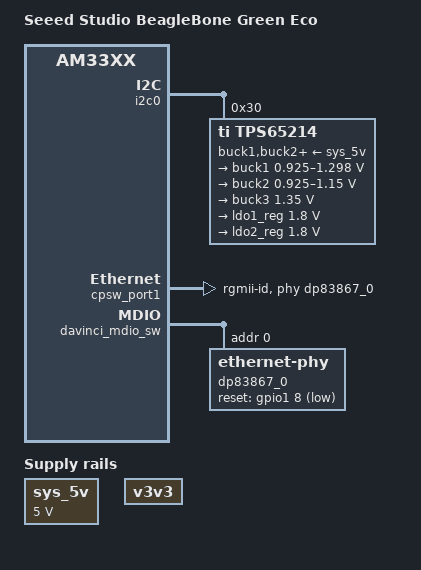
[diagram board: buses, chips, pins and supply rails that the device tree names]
// SPDX-License-Identifier: GPL-2.0-only
/*
 * Copyright (C) 2025 Bootlin
 */
/dts-v1/;

#include "am33xx.dtsi"
#include "am335x-bone-common.dtsi"
#include "am335x-bonegreen-common.dtsi"
#include <dt-bindings/net/ti-dp83867.h>

/ {
	model = "Seeed Studio BeagleBone Green Eco";
	compatible = "seeed,am335x-bone-green-eco", "ti,am33xx";

	chosen {
		base_dtb = "am335x-bonegreen-eco.dts";
		base_dtb_timestamp = __TIMESTAMP__;
	};

	cpus {
		cpu@0 {
			cpu0-supply = <&buck1>;
		};
	};

	sys_5v: regulator-sys-5v {
		compatible = "regulator-fixed";
		regulator-name = "sys_5v";
		regulator-min-microvolt = <5000000>;
		regulator-max-microvolt = <5000000>;
		regulator-always-on;
	};

	v3v3: regulator-v3v3 {
		compatible = "regulator-fixed";
		regulator-name = "v3v3";
		regulator-always-on;
	};
};

&usb0 {
	interrupts-extended = <&intc 18>;
	interrupt-names = "mc";
};

&baseboard_eeprom {
	vcc-supply = <&v3v3>;
};

&i2c0 {
	/delete-node/ pmic@24;

	tps65214: pmic@30 {
		compatible = "ti,tps65214";
		reg = <0x30>;
		buck1-supply = <&sys_5v>;
		buck2-supply = <&sys_5v>;
		buck3-supply = <&sys_5v>;
		ldo1-supply = <&sys_5v>;
		ldo2-supply = <&sys_5v>;

		interrupt-parent = <&intc>;
		interrupts = <7>;
		pinctrl-0 = <&pmic_irq_pins_default>;

		regulators {
			buck1: buck1 {
				regulator-name = "vdd_mpu";
				regulator-min-microvolt = <925000>;
				regulator-max-microvolt = <1298500>;
				regulator-boot-on;
				regulator-always-on;
			};

			buck2: buck2 {
				regulator-name = "vdd_core";
				regulator-min-microvolt = <925000>;
				regulator-max-microvolt = <1150000>;
				regulator-boot-on;
				regulator-always-on;
			};

			buck3: buck3 {
				regulator-name = "vdds_ddr";
				regulator-min-microvolt = <1350000>;
				regulator-max-microvolt = <1350000>;
				regulator-always-on;
			};

			ldo1_reg: ldo1 {
				regulator-name = "vdd_1v8_1";
				regulator-min-microvolt = <1800000>;
				regulator-max-microvolt = <1800000>;
				regulator-boot-on;
				regulator-always-on;
			};

			ldo2_reg: ldo2 {
				regulator-name = "vdd_1v8_2";
				regulator-min-microvolt = <1800000>;
				regulator-max-microvolt = <1800000>;
				regulator-boot-on;
				regulator-always-on;
			};
		};
	};
};

&cpsw_port1 {
	phy-mode = "rgmii-id";
	phy-handle = <&dp83867_0>;
	ti,dual-emac-pvid = <1>;
};

&mac_sw {
	pinctrl-0 = <&cpsw_b_default>;
	pinctrl-1 = <&cpsw_b_sleep>;
};

&davinci_mdio_sw {
	/delete-node/ ethernet-phy@0;

	dp83867_0: ethernet-phy@0 {
		reg = <0>;
		ti,rx-internal-delay = <DP83867_RGMIIDCTL_2_50_NS>;
		ti,tx-internal-delay = <DP83867_RGMIIDCTL_2_50_NS>;
		ti,fifo-depth = <DP83867_PHYCR_FIFO_DEPTH_8_B_NIB>;
		ti,min-output-impedance;
		ti,dp83867-rxctrl-strap-quirk;

		reset-gpios = <&gpio1 8 GPIO_ACTIVE_LOW>;
		reset-assert-us = <300>;
		reset-deassert-us = <50000>;
	};
};

&am33xx_pinmux {
	cpsw_b_default: cpsw-b-default-pins {
		pinctrl-single,pins = <
			AM33XX_PADCONF(AM335X_PIN_MII1_TX_EN, PIN_OUTPUT_PULLDOWN, MUX_MODE2)
			AM33XX_PADCONF(AM335X_PIN_MII1_RX_DV, PIN_INPUT_PULLDOWN, MUX_MODE2)
			AM33XX_PADCONF(AM335X_PIN_MII1_TX_CLK, PIN_OUTPUT_PULLDOWN, MUX_MODE2)
			AM33XX_PADCONF(AM335X_PIN_MII1_RX_CLK, PIN_INPUT_PULLDOWN, MUX_MODE2)
			AM33XX_PADCONF(AM335X_PIN_MII1_TXD0, PIN_OUTPUT_PULLDOWN, MUX_MODE2)
			AM33XX_PADCONF(AM335X_PIN_MII1_TXD1, PIN_OUTPUT_PULLDOWN, MUX_MODE2)
			AM33XX_PADCONF(AM335X_PIN_MII1_TXD2, PIN_OUTPUT_PULLDOWN, MUX_MODE2)
			AM33XX_PADCONF(AM335X_PIN_MII1_TXD3, PIN_OUTPUT_PULLDOWN, MUX_MODE2)
			AM33XX_PADCONF(AM335X_PIN_MII1_RXD0, PIN_INPUT_PULLDOWN, MUX_MODE2)
			AM33XX_PADCONF(AM335X_PIN_MII1_RXD1, PIN_INPUT_PULLDOWN, MUX_MODE2)
			AM33XX_PADCONF(AM335X_PIN_MII1_RXD2, PIN_INPUT_PULLDOWN, MUX_MODE2)
			AM33XX_PADCONF(AM335X_PIN_MII1_RXD3, PIN_INPUT_PULLDOWN, MUX_MODE2)
		>;
	};

	cpsw_b_sleep: cpsw-b-sleep-pins {
		pinctrl-single,pins = <
			AM33XX_PADCONF(AM335X_PIN_MII1_TX_EN, PIN_INPUT_PULLDOWN, MUX_MODE7)
			AM33XX_PADCONF(AM335X_PIN_MII1_RX_DV, PIN_INPUT_PULLDOWN, MUX_MODE7)
			AM33XX_PADCONF(AM335X_PIN_MII1_TX_CLK, PIN_INPUT_PULLDOWN, MUX_MODE7)
			AM33XX_PADCONF(AM335X_PIN_MII1_RX_CLK, PIN_INPUT_PULLDOWN, MUX_MODE7)
			AM33XX_PADCONF(AM335X_PIN_MII1_TXD0, PIN_INPUT_PULLDOWN, MUX_MODE7)
			AM33XX_PADCONF(AM335X_PIN_MII1_TXD1, PIN_INPUT_PULLDOWN, MUX_MODE7)
			AM33XX_PADCONF(AM335X_PIN_MII1_TXD2, PIN_INPUT_PULLDOWN, MUX_MODE7)
			AM33XX_PADCONF(AM335X_PIN_MII1_TXD3, PIN_INPUT_PULLDOWN, MUX_MODE7)
			AM33XX_PADCONF(AM335X_PIN_MII1_RXD0, PIN_INPUT_PULLDOWN, MUX_MODE7)
			AM33XX_PADCONF(AM335X_PIN_MII1_RXD1, PIN_INPUT_PULLDOWN, MUX_MODE7)
			AM33XX_PADCONF(AM335X_PIN_MII1_RXD2, PIN_INPUT_PULLDOWN, MUX_MODE7)
			AM33XX_PADCONF(AM335X_PIN_MII1_RXD3, PIN_INPUT_PULLDOWN, MUX_MODE7)
		>;
	};

	pmic_irq_pins_default: pmic-irq-default-pins {
		pinctrl-single,pins = <
			AM33XX_IOPAD(AM335X_PIN_NNMI, PIN_INPUT_PULLUP | MUX_MODE0)
		>;
	};
};

&gpio0 {
	gpio-line-names =
		"[mdio_data]",
		"[mdio_clk]",
		"P9_22 [spi0_sclk]",
		"P9_21 [spi0_d0]",
		"P9_18 [spi0_d1]",
		"P9_17 [spi0_cs0]",
		"[mmc0_cd]",
		"P9_42A [ecappwm0]",
		"P8_35 [lcd d12]",
		"P8_33 [lcd d13]",
		"P8_31 [lcd d14]",
		"P8_32 [lcd d15]",
		"P9_20 [i2c2_sda]",
		"P9_19 [i2c2_scl]",
		"P9_26 [uart1_rxd]",
		"P9_24 [uart1_txd]",
		"[rmii1_txd3]",
		"[rmii1_txd2]",
		"[usb0_drvvbus]",
		"[hdmi cec]",
		"P9_41B",
		"[rmii1_txd1]",
		"P8_19 [ehrpwm2a]",
		"P8_13 [ehrpwm2b]",
		"NC",
		"NC",
		"P8_14",
		"P8_17",
		"[rmii1_txd0]",
		"[rmii1_refclk]",
		"P9_11 [uart4_rxd]",
		"P9_13 [uart4_txd]";
};

&gpio1 {
	gpio-line-names =
		"P8_25 [mmc1_dat0]",
		"[mmc1_dat1]",
		"P8_5 [mmc1_dat2]",
		"P8_6 [mmc1_dat3]",
		"P8_23 [mmc1_dat4]",
		"P8_22 [mmc1_dat5]",
		"P8_3 [mmc1_dat6]",
		"P8_4 [mmc1_dat7]",
		"NC",
		"NC",
		"NC",
		"NC",
		"P8_12",
		"P8_11",
		"P8_16",
		"P8_15",
		"P9_15A",
		"P9_23",
		"P9_14 [ehrpwm1a]",
		"P9_16 [ehrpwm1b]",
		"[emmc rst]",
		"[usr0 led]",
		"[usr1 led]",
		"[usr2 led]",
		"[usr3 led]",
		"[hdmi irq]",
		"[usb vbus oc]",
		"[hdmi audio]",
		"P9_12",
		"P8_26",
		"P8_21 [emmc]",
		"P8_20 [emmc]";
};

&gpio2 {
	gpio-line-names =
		"P9_15B",
		"P8_18",
		"P8_7",
		"P8_8",
		"P8_10",
		"P8_9",
		"P8_45",
		"P8_46",
		"P8_43",
		"P8_44",
		"P8_41",
		"P8_42",
		"P8_39",
		"P8_40",
		"P8_37",
		"P8_38",
		"P8_36",
		"P8_34",
		"[rmii1_rxd3]",
		"[rmii1_rxd2]",
		"[rmii1_rxd1]",
		"[rmii1_rxd0]",
		"P8_27",
		"P8_29",
		"P8_28",
		"P8_30",
		"[mmc0_dat3]",
		"[mmc0_dat2]",
		"[mmc0_dat1]",
		"[mmc0_dat0]",
		"[mmc0_clk]",
		"[mmc0_cmd]";
};

&gpio3 {
	gpio-line-names =
		"[mii col]",
		"[mii crs]",
		"[mii rx err]",
		"[mii tx en]",
		"[mii rx dv]",
		"[i2c0 sda]",
		"[i2c0 scl]",
		"[jtag emu0]",
		"[jtag emu1]",
		"[mii tx clk]",
		"[mii rx clk]",
		"NC",
		"NC",
		"[usb vbus en]",
		"P9_31 [spi1_sclk]",
		"P9_29 [spi1_d0]",
		"P9_30 [spi1_d1]",
		"P9_28 [spi1_cs0]",
		"P9_42B [ecappwm0]",
		"P9_27",
		"P9_41A",
		"P9_25",
		"NC",
		"NC",
		"NC",
		"NC",
		"NC",
		"NC",
		"NC",
		"NC",
		"NC",
		"NC";
};
